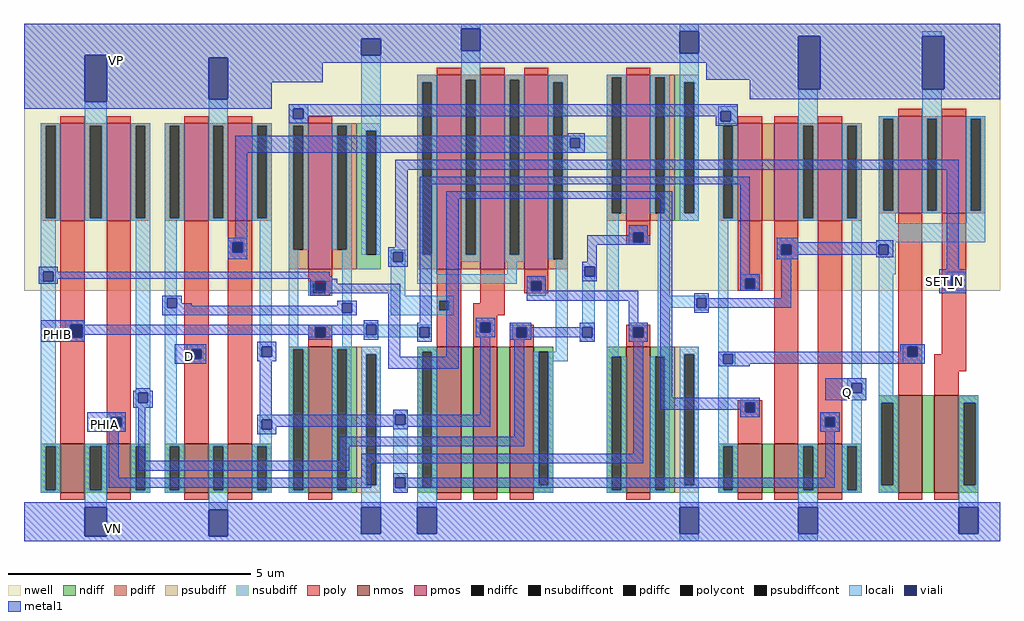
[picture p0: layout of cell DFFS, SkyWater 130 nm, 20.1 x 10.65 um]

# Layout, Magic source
magic
tech sky130A
<< nwell >>
rect -245 215 1765 765
<< nmos >>
rect -170 -200 -120 -100
rect -75 -200 -25 -100
rect 85 -200 135 -100
rect 175 -200 225 -100
rect 340 -200 390 100
rect 605 -200 655 100
rect 680 -200 730 100
rect 755 -200 805 100
rect 995 -200 1045 100
rect 1225 -200 1275 -100
rect 1300 -200 1350 -100
rect 1390 -200 1440 -100
rect 1555 -200 1605 0
rect 1630 -200 1680 0
<< pmos >>
rect -170 360 -120 560
rect -75 360 -25 560
rect 85 360 135 560
rect 175 360 225 560
rect 340 260 390 560
rect 605 260 655 660
rect 695 260 745 660
rect 785 260 835 660
rect 995 360 1045 660
rect 1225 360 1275 560
rect 1300 360 1350 560
rect 1390 360 1440 560
rect 1555 375 1605 575
rect 1645 375 1695 575
<< ndiff >>
rect 300 95 340 100
rect -210 -105 -170 -100
rect -210 -195 -200 -105
rect -180 -195 -170 -105
rect -210 -200 -170 -195
rect -120 -105 -75 -100
rect -120 -195 -110 -105
rect -85 -195 -75 -105
rect -120 -200 -75 -195
rect -25 -105 15 -100
rect -25 -195 -15 -105
rect 5 -195 15 -105
rect -25 -200 15 -195
rect 45 -105 85 -100
rect 45 -195 55 -105
rect 75 -195 85 -105
rect 45 -200 85 -195
rect 135 -105 175 -100
rect 135 -195 145 -105
rect 165 -195 175 -105
rect 135 -200 175 -195
rect 225 -105 265 -100
rect 225 -195 235 -105
rect 255 -195 265 -105
rect 225 -200 265 -195
rect 300 -195 310 95
rect 330 -195 340 95
rect 300 -200 340 -195
rect 390 95 440 100
rect 390 -195 400 95
rect 420 -195 440 95
rect 390 -200 440 -195
rect 565 90 605 100
rect 565 -190 575 90
rect 595 -190 605 90
rect 565 -200 605 -190
rect 655 -200 680 100
rect 730 -200 755 100
rect 805 90 845 100
rect 805 -185 815 90
rect 835 -185 845 90
rect 805 -200 845 -185
rect 955 80 995 100
rect 955 -195 965 80
rect 985 -195 995 80
rect 955 -200 995 -195
rect 1045 80 1095 100
rect 1045 -195 1055 80
rect 1075 -195 1095 80
rect 1515 -15 1555 0
rect 1045 -200 1095 -195
rect 1185 -105 1225 -100
rect 1185 -195 1195 -105
rect 1215 -195 1225 -105
rect 1185 -200 1225 -195
rect 1275 -200 1300 -100
rect 1350 -105 1390 -100
rect 1350 -195 1360 -105
rect 1380 -195 1390 -105
rect 1350 -200 1390 -195
rect 1440 -105 1480 -100
rect 1440 -195 1450 -105
rect 1470 -195 1480 -105
rect 1440 -200 1480 -195
rect 1515 -185 1520 -15
rect 1545 -185 1555 -15
rect 1515 -200 1555 -185
rect 1605 -200 1630 0
rect 1680 -15 1720 0
rect 1680 -185 1690 -15
rect 1715 -185 1720 -15
rect 1680 -200 1720 -185
<< pdiff >>
rect 565 645 605 660
rect -210 555 -170 560
rect -210 365 -200 555
rect -180 365 -170 555
rect -210 360 -170 365
rect -120 555 -75 560
rect -120 365 -110 555
rect -85 365 -75 555
rect -120 360 -75 365
rect -25 555 15 560
rect -25 365 -15 555
rect 5 365 15 555
rect -25 360 15 365
rect 45 555 85 560
rect 45 365 55 555
rect 75 365 85 555
rect 45 360 85 365
rect 135 555 175 560
rect 135 365 145 555
rect 165 365 175 555
rect 135 360 175 365
rect 225 555 265 560
rect 225 365 235 555
rect 255 365 265 555
rect 225 360 265 365
rect 300 555 340 560
rect 300 300 310 555
rect 330 300 340 555
rect 300 260 340 300
rect 390 555 440 560
rect 390 300 400 555
rect 420 300 440 555
rect 390 260 440 300
rect 565 290 575 645
rect 595 290 605 645
rect 565 260 605 290
rect 655 650 695 660
rect 655 290 665 650
rect 685 290 695 650
rect 655 260 695 290
rect 745 650 785 660
rect 745 290 755 650
rect 775 290 785 650
rect 745 260 785 290
rect 835 645 875 660
rect 835 280 845 645
rect 865 280 875 645
rect 955 655 995 660
rect 955 375 965 655
rect 985 375 995 655
rect 955 360 995 375
rect 1045 655 1095 660
rect 1045 375 1055 655
rect 1075 375 1095 655
rect 1515 570 1555 575
rect 1045 360 1095 375
rect 1185 555 1225 560
rect 1185 365 1195 555
rect 1215 365 1225 555
rect 1185 360 1225 365
rect 1275 360 1300 560
rect 1350 555 1390 560
rect 1350 365 1360 555
rect 1380 365 1390 555
rect 1350 360 1390 365
rect 1440 555 1480 560
rect 1440 365 1450 555
rect 1470 365 1480 555
rect 1515 380 1525 570
rect 1545 380 1555 570
rect 1515 375 1555 380
rect 1605 570 1645 575
rect 1605 380 1615 570
rect 1635 380 1645 570
rect 1605 375 1645 380
rect 1695 570 1735 575
rect 1695 380 1705 570
rect 1725 380 1735 570
rect 1695 375 1735 380
rect 1440 360 1480 365
rect 835 260 875 280
<< ndiffc >>
rect -200 -195 -180 -105
rect -110 -195 -85 -105
rect -15 -195 5 -105
rect 55 -195 75 -105
rect 145 -195 165 -105
rect 235 -195 255 -105
rect 310 -195 330 95
rect 400 -195 420 95
rect 575 -190 595 90
rect 815 -185 835 90
rect 965 -195 985 80
rect 1055 -195 1075 80
rect 1195 -195 1215 -105
rect 1360 -195 1380 -105
rect 1450 -195 1470 -105
rect 1520 -185 1545 -15
rect 1690 -185 1715 -15
<< pdiffc >>
rect -200 365 -180 555
rect -110 365 -85 555
rect -15 365 5 555
rect 55 365 75 555
rect 145 365 165 555
rect 235 365 255 555
rect 310 300 330 555
rect 400 300 420 555
rect 575 290 595 645
rect 665 290 685 650
rect 755 290 775 650
rect 845 280 865 645
rect 965 375 985 655
rect 1055 375 1075 655
rect 1195 365 1215 555
rect 1360 365 1380 555
rect 1450 365 1470 555
rect 1525 380 1545 570
rect 1615 380 1635 570
rect 1705 380 1725 570
<< psubdiff >>
rect 440 85 490 100
rect 440 -185 460 85
rect 480 -185 490 85
rect 440 -200 490 -185
rect 1095 85 1145 100
rect 1095 -185 1115 85
rect 1135 -185 1145 85
rect 1095 -200 1145 -185
<< nsubdiff >>
rect 440 545 490 560
rect 440 290 460 545
rect 480 290 490 545
rect 440 260 490 290
rect 1095 645 1145 660
rect 1095 375 1115 645
rect 1135 375 1145 645
rect 1095 360 1145 375
<< psubdiffcont >>
rect 460 -185 480 85
rect 1115 -185 1135 85
<< nsubdiffcont >>
rect 460 290 480 545
rect 1115 375 1135 645
<< poly >>
rect 605 660 655 675
rect 695 660 745 675
rect 785 660 835 675
rect 995 660 1045 675
rect -170 560 -120 575
rect -75 560 -25 575
rect 85 560 135 575
rect 175 560 225 575
rect 340 560 390 575
rect -170 145 -120 360
rect -170 120 -150 145
rect -125 120 -120 145
rect -170 -100 -120 120
rect -75 -45 -25 360
rect -75 -66 -64 -45
rect -44 -66 -25 -45
rect -75 -100 -25 -66
rect 85 95 135 360
rect 85 75 100 95
rect 120 75 135 95
rect 85 -100 135 75
rect 175 315 225 360
rect 175 295 185 315
rect 205 295 225 315
rect 175 -100 225 295
rect 1555 575 1605 590
rect 1645 575 1695 590
rect 1225 560 1275 575
rect 1300 560 1350 575
rect 1390 560 1440 575
rect 995 335 1045 360
rect 995 315 1010 335
rect 1030 315 1045 335
rect 995 310 1045 315
rect 340 230 390 260
rect 340 210 350 230
rect 375 210 390 230
rect 340 205 390 210
rect 605 195 655 260
rect 605 175 610 195
rect 630 175 655 195
rect 695 190 745 260
rect 785 235 835 260
rect 785 215 800 235
rect 820 215 835 235
rect 1225 240 1275 360
rect 1225 220 1240 240
rect 1260 220 1275 240
rect 1225 215 1275 220
rect 1300 310 1350 360
rect 1300 290 1315 310
rect 1335 290 1350 310
rect 785 210 835 215
rect 340 140 390 145
rect 340 120 355 140
rect 375 120 390 140
rect 340 100 390 120
rect 605 100 655 175
rect 680 165 745 190
rect 680 150 730 165
rect 680 130 695 150
rect 715 130 730 150
rect 680 100 730 130
rect 755 140 805 145
rect 755 120 770 140
rect 790 120 805 140
rect 755 100 805 120
rect 995 140 1045 145
rect 995 120 1010 140
rect 1030 120 1045 140
rect 995 100 1045 120
rect 1225 -15 1275 -10
rect 1225 -35 1240 -15
rect 1260 -35 1275 -15
rect 1225 -100 1275 -35
rect 1300 -100 1350 290
rect 1390 -45 1440 360
rect 1555 100 1605 375
rect 1555 80 1575 100
rect 1595 80 1605 100
rect 1645 245 1695 375
rect 1645 225 1665 245
rect 1685 225 1695 245
rect 1645 85 1695 225
rect 1555 0 1605 80
rect 1630 50 1695 85
rect 1630 0 1680 50
rect 1390 -65 1405 -45
rect 1425 -65 1440 -45
rect 1390 -100 1440 -65
rect -170 -215 -120 -200
rect -75 -215 -25 -200
rect 85 -215 135 -200
rect 175 -215 225 -200
rect 340 -215 390 -200
rect 605 -215 655 -200
rect 680 -215 730 -200
rect 755 -215 805 -200
rect 995 -215 1045 -200
rect 1225 -215 1275 -200
rect 1300 -215 1350 -200
rect 1390 -215 1440 -200
rect 1555 -215 1605 -200
rect 1630 -215 1680 -200
<< polycont >>
rect -150 120 -125 145
rect -64 -66 -44 -45
rect 100 75 120 95
rect 185 295 205 315
rect 1010 315 1030 335
rect 350 210 375 230
rect 610 175 630 195
rect 800 215 820 235
rect 1240 220 1260 240
rect 1315 290 1335 310
rect 355 120 375 140
rect 695 130 715 150
rect 770 120 790 140
rect 1010 120 1030 140
rect 1240 -35 1260 -15
rect 1575 80 1595 100
rect 1665 225 1685 245
rect 1405 -65 1425 -45
<< locali >>
rect 655 755 695 765
rect -210 555 -170 560
rect -210 365 -200 555
rect -180 365 -170 555
rect -210 360 -170 365
rect -120 555 -75 605
rect -120 365 -110 555
rect -85 365 -75 555
rect -120 360 -75 365
rect -25 555 15 560
rect -25 365 -15 555
rect 5 365 15 555
rect -25 360 15 365
rect -210 255 -180 360
rect -210 235 -205 255
rect -185 235 -180 255
rect -210 -100 -180 235
rect -160 145 -120 155
rect -160 120 -150 145
rect -125 120 -120 145
rect -160 110 -120 120
rect -15 5 15 360
rect -15 -15 -10 5
rect 10 -15 15 5
rect -75 -45 -35 -35
rect -75 -65 -65 -45
rect -75 -66 -64 -65
rect -44 -66 -35 -45
rect -75 -75 -35 -66
rect -15 -100 15 -15
rect -210 -105 -170 -100
rect -210 -195 -200 -105
rect -180 -195 -170 -105
rect -210 -200 -170 -195
rect -120 -105 -75 -100
rect -120 -195 -110 -105
rect -85 -195 -75 -105
rect -120 -230 -75 -195
rect -25 -105 15 -100
rect -25 -195 -15 -105
rect 5 -195 15 -105
rect -25 -200 15 -195
rect 45 555 85 560
rect 45 365 55 555
rect 75 365 85 555
rect 45 360 85 365
rect 135 555 175 610
rect 300 590 340 600
rect 300 570 310 590
rect 330 570 340 590
rect 135 365 145 555
rect 165 365 175 555
rect 135 360 175 365
rect 225 555 265 560
rect 225 365 235 555
rect 255 365 265 555
rect 225 360 265 365
rect 45 200 70 360
rect 175 315 215 325
rect 175 295 185 315
rect 205 295 215 315
rect 175 280 215 295
rect 45 180 50 200
rect 45 -100 70 180
rect 90 95 130 105
rect 90 75 100 95
rect 120 75 130 95
rect 240 100 265 360
rect 240 80 245 100
rect 300 555 340 570
rect 300 300 310 555
rect 330 300 340 555
rect 390 555 430 560
rect 390 300 400 555
rect 420 300 430 555
rect 300 100 320 300
rect 340 230 355 235
rect 340 210 350 230
rect 375 210 390 235
rect 340 205 390 210
rect 410 190 430 300
rect 450 545 490 700
rect 450 290 460 545
rect 480 290 490 545
rect 565 645 605 660
rect 510 295 540 300
rect 340 140 390 145
rect 340 120 355 140
rect 375 120 390 140
rect 410 100 430 170
rect 510 275 515 295
rect 535 275 540 295
rect 510 205 540 275
rect 565 290 575 645
rect 595 290 605 645
rect 565 250 605 290
rect 655 650 695 710
rect 1105 750 1145 765
rect 1605 740 1645 750
rect 655 290 665 650
rect 685 290 695 650
rect 655 275 695 290
rect 745 650 785 660
rect 745 290 755 650
rect 775 290 785 650
rect 745 275 785 290
rect 835 645 875 660
rect 835 280 845 645
rect 865 535 875 645
rect 955 655 995 660
rect 955 535 965 655
rect 865 530 965 535
rect 865 510 880 530
rect 900 510 965 530
rect 865 500 965 510
rect 865 280 875 500
rect 750 250 770 275
rect 565 230 770 250
rect 790 235 830 245
rect 790 215 800 235
rect 820 215 830 235
rect 790 205 830 215
rect 510 195 640 205
rect 510 175 610 195
rect 630 175 640 195
rect 510 165 640 175
rect 685 150 725 160
rect 455 145 485 150
rect 455 125 460 145
rect 480 140 595 145
rect 480 125 570 140
rect 455 120 570 125
rect 590 120 595 140
rect 685 130 695 150
rect 715 130 725 150
rect 685 120 725 130
rect 760 140 800 150
rect 760 120 770 140
rect 790 120 800 140
rect 760 115 800 120
rect 300 95 340 100
rect 90 65 130 75
rect 240 -50 265 -40
rect 240 -70 245 -50
rect 240 -100 265 -70
rect 45 -105 85 -100
rect 45 -195 55 -105
rect 75 -195 85 -105
rect 45 -200 85 -195
rect 135 -105 175 -100
rect 135 -195 145 -105
rect 165 -195 175 -105
rect 135 -235 175 -195
rect 225 -105 265 -100
rect 225 -195 235 -105
rect 255 -195 265 -105
rect 225 -200 265 -195
rect 300 -195 310 95
rect 330 -195 340 95
rect 300 -200 340 -195
rect 390 95 430 100
rect 390 -195 400 95
rect 420 -195 430 95
rect 390 -200 430 -195
rect 450 85 490 100
rect 450 -185 460 85
rect 480 -185 490 85
rect 565 90 605 100
rect 850 90 875 280
rect 955 375 965 500
rect 985 375 995 655
rect 1045 655 1085 660
rect 1045 375 1055 655
rect 1075 375 1085 655
rect 905 245 910 265
rect 905 150 930 245
rect 900 140 930 150
rect 900 120 905 140
rect 925 120 930 140
rect 900 110 930 120
rect 450 -230 490 -185
rect 515 -40 545 -30
rect 515 -60 520 -40
rect 540 -60 545 -40
rect 515 -170 545 -60
rect 515 -190 520 -170
rect 540 -190 545 -170
rect 515 -200 545 -190
rect 565 -190 575 90
rect 595 -190 605 90
rect 565 -230 605 -190
rect 805 -185 815 90
rect 835 70 875 90
rect 955 80 980 375
rect 1000 335 1040 350
rect 1000 315 1010 335
rect 1030 315 1040 335
rect 1000 310 1040 315
rect 1060 205 1085 375
rect 1105 645 1145 705
rect 1105 375 1115 645
rect 1135 375 1145 645
rect 1105 360 1145 375
rect 1185 585 1225 595
rect 1185 565 1190 585
rect 1210 565 1225 585
rect 1185 555 1225 565
rect 1185 365 1195 555
rect 1215 365 1225 555
rect 1185 360 1225 365
rect 1350 555 1390 630
rect 1515 570 1555 575
rect 1350 365 1360 555
rect 1380 365 1390 555
rect 1350 360 1390 365
rect 1440 555 1480 560
rect 1440 365 1450 555
rect 1470 365 1480 555
rect 1440 360 1480 365
rect 1060 200 1165 205
rect 1060 180 1140 200
rect 1160 180 1165 200
rect 1000 140 1040 150
rect 1000 120 1010 140
rect 1030 120 1040 140
rect 1000 110 1040 120
rect 1060 80 1085 180
rect 1135 175 1165 180
rect 835 -185 845 70
rect 805 -200 845 -185
rect 955 -195 965 80
rect 985 -195 995 80
rect 955 -200 995 -195
rect 1045 -195 1055 80
rect 1075 -195 1085 80
rect 1045 -200 1085 -195
rect 1105 85 1145 100
rect 1105 -185 1115 85
rect 1135 -185 1145 85
rect 1105 -230 1145 -185
rect 1185 90 1205 360
rect 1305 310 1350 325
rect 1305 290 1315 310
rect 1335 290 1350 310
rect 1305 280 1350 290
rect 1230 240 1270 250
rect 1230 220 1240 240
rect 1260 220 1270 240
rect 1230 215 1270 220
rect 1185 85 1220 90
rect 1185 65 1195 85
rect 1215 65 1220 85
rect 1185 60 1220 65
rect 1185 -100 1205 60
rect 1460 35 1480 360
rect 1515 380 1525 570
rect 1545 380 1555 570
rect 1515 375 1555 380
rect 1605 570 1645 630
rect 1605 380 1615 570
rect 1635 380 1645 570
rect 1605 375 1645 380
rect 1695 570 1735 575
rect 1695 380 1705 570
rect 1725 380 1735 570
rect 1515 355 1550 375
rect 1695 355 1735 380
rect 1515 320 1735 355
rect 1510 315 1735 320
rect 1510 310 1550 315
rect 1510 290 1515 310
rect 1535 290 1550 310
rect 1510 285 1550 290
rect 1515 250 1550 285
rect 1450 25 1490 35
rect 1450 5 1460 25
rect 1480 5 1490 25
rect 1230 -15 1270 -5
rect 1450 -10 1490 5
rect 1515 0 1545 250
rect 1655 245 1695 255
rect 1655 225 1665 245
rect 1685 225 1695 245
rect 1655 215 1695 225
rect 1565 100 1605 105
rect 1565 80 1575 100
rect 1595 80 1605 100
rect 1565 65 1605 80
rect 1230 -35 1240 -15
rect 1260 -35 1270 -15
rect 1230 -45 1270 -35
rect 1395 -45 1435 -35
rect 1395 -65 1405 -45
rect 1425 -65 1435 -45
rect 1395 -75 1435 -65
rect 1460 -100 1480 -10
rect 1185 -105 1225 -100
rect 1185 -195 1195 -105
rect 1215 -195 1225 -105
rect 1185 -200 1225 -195
rect 1350 -105 1390 -100
rect 1350 -195 1360 -105
rect 1380 -195 1390 -105
rect 1105 -300 1145 -285
rect 1350 -230 1390 -195
rect 1440 -105 1480 -100
rect 1440 -195 1450 -105
rect 1470 -195 1480 -105
rect 1440 -200 1480 -195
rect 1515 -15 1555 0
rect 1515 -185 1520 -15
rect 1545 -185 1555 -15
rect 1515 -200 1555 -185
rect 1680 -15 1720 0
rect 1680 -185 1690 -15
rect 1715 -185 1720 -15
rect 1680 -230 1720 -185
rect 1350 -300 1390 -285
<< viali >>
rect 450 700 490 735
rect -120 605 -75 700
rect 135 610 175 695
rect -205 235 -185 255
rect -150 120 -125 145
rect -10 -15 10 5
rect -65 -65 -64 -45
rect -64 -65 -45 -45
rect 310 570 330 590
rect 185 295 205 315
rect 50 180 70 200
rect 100 75 120 95
rect 245 80 265 100
rect 355 230 375 235
rect 355 215 375 230
rect 655 710 695 755
rect 410 170 430 190
rect 355 120 375 140
rect 515 275 535 295
rect 1105 705 1145 750
rect 880 510 900 530
rect 800 215 820 235
rect 460 125 480 145
rect 570 120 590 140
rect 695 130 715 150
rect 770 120 790 140
rect 245 -70 265 -50
rect -120 -290 -75 -230
rect 910 245 930 265
rect 905 120 925 140
rect 135 -290 175 -235
rect 520 -60 540 -40
rect 520 -190 540 -170
rect 450 -285 490 -230
rect 1010 315 1030 335
rect 1350 630 1395 740
rect 1605 630 1650 740
rect 1190 565 1210 585
rect 1140 180 1160 200
rect 1010 120 1030 140
rect 565 -285 605 -230
rect 1315 290 1335 310
rect 1240 220 1260 240
rect 1195 65 1215 85
rect 1515 290 1535 310
rect 1460 5 1480 25
rect 1665 225 1685 245
rect 1575 80 1595 100
rect 1240 -35 1260 -15
rect 1405 -65 1425 -45
rect 1105 -285 1145 -230
rect 1350 -285 1390 -230
rect 1680 -285 1720 -230
<< metal1 >>
rect -245 755 1765 765
rect -245 735 655 755
rect -245 700 450 735
rect 490 710 655 735
rect 695 750 1765 755
rect 695 710 1105 750
rect 490 705 1105 710
rect 1145 740 1765 750
rect 1145 705 1350 740
rect 490 700 1350 705
rect -245 605 -120 700
rect -75 695 1350 700
rect -75 610 135 695
rect 175 685 1350 695
rect 175 645 370 685
rect 1160 650 1350 685
rect 175 610 265 645
rect 1250 630 1350 650
rect 1395 630 1605 740
rect 1650 630 1765 740
rect 1250 610 1765 630
rect -75 605 265 610
rect -245 590 265 605
rect 300 590 1225 600
rect 300 570 310 590
rect 330 585 1225 590
rect 330 575 1190 585
rect 330 570 340 575
rect 300 560 340 570
rect 1180 565 1190 575
rect 1210 565 1225 585
rect 1180 555 1225 565
rect 875 535 910 540
rect 190 530 910 535
rect 190 510 880 530
rect 900 510 910 530
rect 190 500 910 510
rect 190 325 215 500
rect 175 315 215 325
rect 175 295 185 315
rect 205 295 215 315
rect 520 465 1680 485
rect 520 305 545 465
rect 175 280 215 295
rect 505 295 545 305
rect 505 275 515 295
rect 535 275 545 295
rect 505 265 545 275
rect 570 435 1250 450
rect -215 255 -175 265
rect -215 235 -205 255
rect -185 245 385 255
rect -185 240 390 245
rect -185 235 -175 240
rect -215 230 -175 235
rect 345 235 400 240
rect 345 215 355 235
rect 375 230 400 235
rect 375 215 530 230
rect 345 210 530 215
rect 345 205 385 210
rect 40 200 80 205
rect 40 180 50 200
rect 70 190 80 200
rect 400 190 440 195
rect 70 185 100 190
rect 400 185 410 190
rect 70 180 410 185
rect 40 170 410 180
rect 430 170 440 190
rect 40 165 440 170
rect -210 145 -120 155
rect 455 145 485 155
rect -210 120 -150 145
rect -125 140 460 145
rect -125 125 355 140
rect -125 120 -120 125
rect -210 110 -120 120
rect 340 120 355 125
rect 375 125 460 140
rect 480 125 485 145
rect 375 120 390 125
rect 340 115 390 120
rect 455 115 485 125
rect 65 95 130 105
rect 65 75 100 95
rect 120 75 130 95
rect 65 65 130 75
rect 235 100 275 110
rect 235 80 245 100
rect 265 80 275 100
rect 235 70 275 80
rect 505 80 530 210
rect 570 150 595 435
rect 565 140 595 150
rect 565 120 570 140
rect 590 120 595 140
rect 565 110 595 120
rect 625 405 1090 420
rect 625 80 650 405
rect 1000 335 1040 350
rect 1000 330 1010 335
rect 915 315 1010 330
rect 1030 330 1040 335
rect 1030 315 1045 330
rect 915 310 1045 315
rect 915 275 935 310
rect 905 265 935 275
rect 905 245 910 265
rect 930 245 935 265
rect 790 235 830 245
rect 905 235 935 245
rect 790 215 800 235
rect 820 215 830 235
rect 790 195 1020 215
rect 685 150 725 160
rect 1000 150 1020 195
rect 685 130 695 150
rect 715 130 725 150
rect 685 120 725 130
rect 755 140 800 150
rect 900 140 930 150
rect 755 120 770 140
rect 790 120 905 140
rect 925 120 930 140
rect -15 10 15 15
rect -20 5 20 10
rect -20 -15 -10 5
rect 10 -15 20 5
rect -20 -25 20 -15
rect -115 -45 -35 -35
rect -115 -65 -65 -45
rect -45 -65 -35 -45
rect -115 -75 -35 -65
rect -70 -170 -50 -75
rect -10 -135 5 -25
rect 240 -40 265 70
rect 505 55 650 80
rect 515 -40 545 -30
rect 695 -40 715 120
rect 755 115 800 120
rect 235 -50 520 -40
rect 235 -70 245 -50
rect 265 -60 520 -50
rect 540 -60 715 -40
rect 265 -65 715 -60
rect 265 -70 275 -65
rect 515 -70 545 -65
rect 235 -80 275 -70
rect 765 -85 785 115
rect 900 110 930 120
rect 1000 140 1040 150
rect 1000 120 1010 140
rect 1030 120 1040 140
rect 1000 110 1040 120
rect 405 -105 785 -85
rect 405 -135 425 -105
rect 1010 -120 1030 110
rect 1065 -5 1090 405
rect 1230 250 1250 435
rect 1305 315 1350 325
rect 1510 315 1545 320
rect 1305 310 1545 315
rect 1305 290 1315 310
rect 1335 290 1515 310
rect 1535 290 1545 310
rect 1305 280 1350 290
rect 1510 285 1545 290
rect 1230 240 1270 250
rect 1230 220 1240 240
rect 1260 220 1270 240
rect 1230 215 1270 220
rect 1135 200 1165 210
rect 1315 200 1335 280
rect 1655 260 1680 465
rect 1640 245 1695 260
rect 1640 225 1665 245
rect 1685 225 1695 245
rect 1640 210 1695 225
rect 1135 180 1140 200
rect 1160 180 1335 200
rect 1135 170 1165 180
rect 1560 100 1610 105
rect 1560 90 1575 100
rect 1185 85 1575 90
rect 1185 65 1195 85
rect 1215 80 1575 85
rect 1595 80 1610 100
rect 1215 65 1610 80
rect 1185 60 1250 65
rect 1405 25 1490 35
rect 1405 5 1460 25
rect 1480 5 1490 25
rect 1065 -15 1270 -5
rect 1405 -10 1490 5
rect 1065 -30 1240 -15
rect 1230 -35 1240 -30
rect 1260 -35 1270 -15
rect 1230 -45 1270 -35
rect 1395 -45 1435 -35
rect 1395 -65 1405 -45
rect 1425 -65 1435 -45
rect 1395 -75 1435 -65
rect -10 -155 425 -135
rect 450 -140 1030 -120
rect 450 -170 470 -140
rect -70 -190 470 -170
rect 515 -170 545 -160
rect 1405 -170 1425 -75
rect 515 -190 520 -170
rect 540 -190 1425 -170
rect 515 -200 545 -190
rect -245 -230 1765 -220
rect -245 -290 -120 -230
rect -75 -235 450 -230
rect -75 -290 135 -235
rect 175 -285 450 -235
rect 490 -285 565 -230
rect 605 -285 1105 -230
rect 1145 -285 1350 -230
rect 1390 -285 1680 -230
rect 1720 -285 1765 -230
rect 175 -290 1765 -285
rect -245 -300 1765 -290
<< labels >>
flabel metal1 95 80 95 80 1 FreeSans 200 0 0 0 D
port 3 n
flabel metal1 1450 5 1450 5 1 FreeSans 200 0 0 0 Q
port 4 n
flabel metal1 -55 690 -55 690 1 FreeSans 400 0 0 0 VP
port 6 n
flabel metal1 -60 -275 -60 -275 1 FreeSans 400 0 0 0 VN
port 7 n
flabel metal1 1650 235 1650 235 1 FreeSans 200 0 0 0 SET_N
port 5 n
flabel metal1 -80 -60 -80 -60 1 FreeSans 200 0 0 0 PHIA
port 1 n
flabel metal1 -175 125 -175 125 1 FreeSans 200 0 0 0 PHIB
port 2 n
<< end >>
